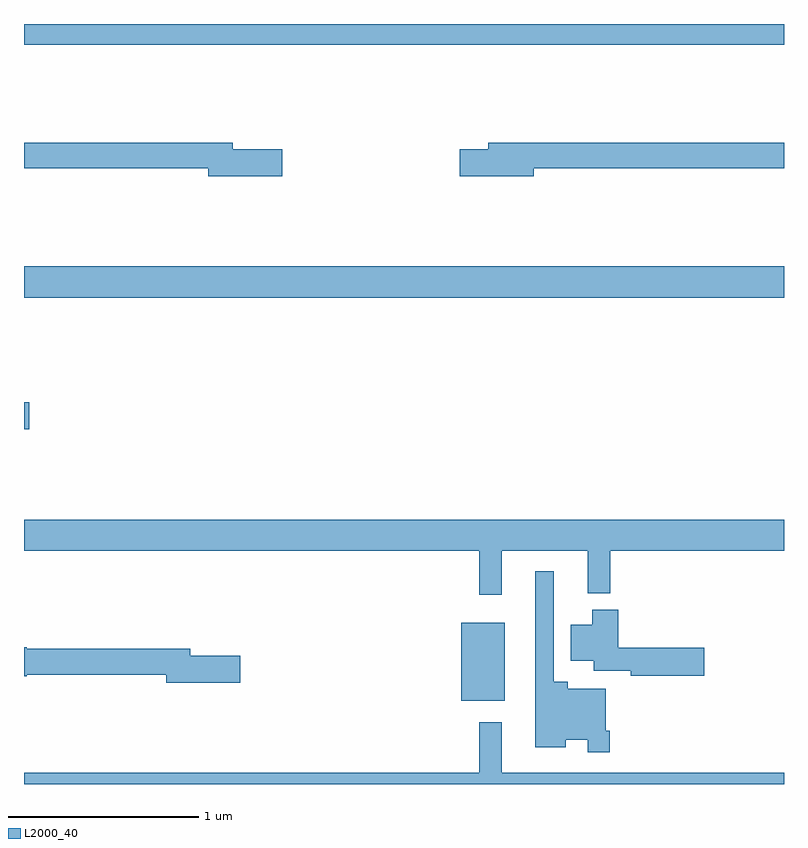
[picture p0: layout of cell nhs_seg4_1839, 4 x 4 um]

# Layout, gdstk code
import gdstk
lib = gdstk.Library(unit=1e-6, precision=1e-09)
def R(c, l, rs):  # rectangles x0, y0, x1, y1
    for r in rs: c.add(gdstk.rectangle(r[:2], r[2:], *l))
def P(c, l, *ps):  # polygons
    for p in ps: c.add(gdstk.Polygon(p, *l))
L2000_40 = (2000, 40)

nhs_seg4_1839 = lib.new_cell('nhs_seg4_1839')
R(nhs_seg4_1839, L2000_40, [(207.302,821.339,207.529,821.749), (205,822.766,205.027,822.908), (205,823.46,209,823.624), (205,824.792,209,824.9)])
P(nhs_seg4_1839, L2000_40, [(207.682,824.14),(209,824.14),(209,824.276),(207.443,824.276),(207.443,824.24),(207.294,824.24),(207.294,824.098),(207.682,824.098)],
  [(206.359,824.24),(206.098,824.24),(206.098,824.276),(205,824.276),(205,824.14),(205.97,824.14),(205.97,824.098),(206.359,824.098)],
  [(207.515,822.128),(207.968,822.128),(207.968,821.903),(208.085,821.903),(208.085,822.128),(209,822.128),(209,822.292),(205,822.292),(205,822.128),(207.397,822.128),(207.397,821.895),(207.515,821.895)],
  [(208.082,821.179),(208.062,821.179),(208.062,821.401),(207.863,821.401),(207.863,821.437),(207.789,821.437),(207.789,822.019),(207.692,822.019),(207.692,821.093),(207.85,821.093),(207.85,821.132),(207.966,821.132),(207.966,821.067),(208.082,821.067)],
  [(208.579,821.618),(208.127,821.618),(208.127,821.818),(207.992,821.818),(207.992,821.737),(207.878,821.737),(207.878,821.549),(207.998,821.549),(207.998,821.495),(208.194,821.495),(208.194,821.471),(208.579,821.471)],
  [(206.137,821.576),(205.876,821.576),(205.876,821.612),(205.014,821.612),(205.014,821.62),(205,821.62),(205,821.468),(205.014,821.468),(205.014,821.476),(205.748,821.476),(205.748,821.434),(206.137,821.434)],
  [(209,820.96),(207.514,820.96),(207.514,821.224),(207.397,821.224),(207.397,820.96),(205,820.96),(205,820.9),(209,820.9)])

lib.write_gds('nhs_seg4_1839.gds')
